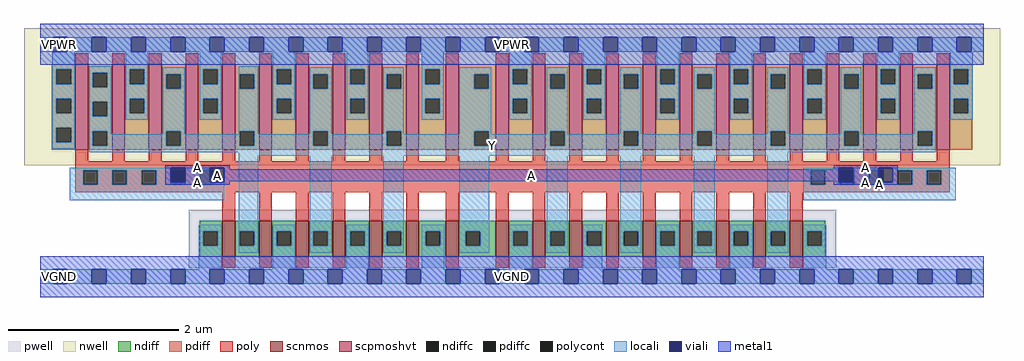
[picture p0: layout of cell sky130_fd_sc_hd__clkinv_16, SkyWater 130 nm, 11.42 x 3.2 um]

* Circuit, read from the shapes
.subckt sky130_fd_sc_hd__clkinv_16 A VGND VNB VPB VPWR Y
XM1 Y A VGND VNB sky130_fd_pr__nfet_01v8 w=0.42 l=0.15 m=16
XM2 Y A VPWR VPB sky130_fd_pr__pfet_01v8_hvt w=1 l=0.15 m=24
.ends

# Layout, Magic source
magic
tech sky130B
magscale 1 2
<< nwell >>
rect -38 261 2246 582
<< pwell >>
rect 347 21 1863 157
rect 29 -17 63 17
<< scnmos >>
rect 426 47 456 131
rect 512 47 542 131
rect 598 47 628 131
rect 684 47 714 131
rect 770 47 800 131
rect 856 47 886 131
rect 949 47 979 131
rect 1066 47 1096 131
rect 1152 47 1182 131
rect 1238 47 1268 131
rect 1324 47 1354 131
rect 1410 47 1440 131
rect 1496 47 1526 131
rect 1582 47 1612 131
rect 1668 47 1698 131
rect 1754 47 1784 131
<< scpmoshvt >>
rect 82 297 112 497
rect 168 297 198 497
rect 254 297 284 497
rect 340 297 370 497
rect 426 297 456 497
rect 512 297 542 497
rect 598 297 628 497
rect 684 297 714 497
rect 770 297 800 497
rect 856 297 886 497
rect 949 297 979 497
rect 1066 297 1096 497
rect 1152 297 1182 497
rect 1238 297 1268 497
rect 1324 297 1354 497
rect 1410 297 1440 497
rect 1496 297 1526 497
rect 1582 297 1612 497
rect 1668 297 1698 497
rect 1754 297 1784 497
rect 1840 297 1870 497
rect 1926 297 1956 497
rect 2012 297 2042 497
rect 2098 297 2128 497
<< ndiff >>
rect 373 106 426 131
rect 373 72 381 106
rect 415 72 426 106
rect 373 47 426 72
rect 456 106 512 131
rect 456 72 467 106
rect 501 72 512 106
rect 456 47 512 72
rect 542 106 598 131
rect 542 72 553 106
rect 587 72 598 106
rect 542 47 598 72
rect 628 106 684 131
rect 628 72 639 106
rect 673 72 684 106
rect 628 47 684 72
rect 714 106 770 131
rect 714 72 725 106
rect 759 72 770 106
rect 714 47 770 72
rect 800 106 856 131
rect 800 72 811 106
rect 845 72 856 106
rect 800 47 856 72
rect 886 106 949 131
rect 886 72 902 106
rect 936 72 949 106
rect 886 47 949 72
rect 979 106 1066 131
rect 979 72 996 106
rect 1030 72 1066 106
rect 979 47 1066 72
rect 1096 106 1152 131
rect 1096 72 1107 106
rect 1141 72 1152 106
rect 1096 47 1152 72
rect 1182 106 1238 131
rect 1182 72 1193 106
rect 1227 72 1238 106
rect 1182 47 1238 72
rect 1268 106 1324 131
rect 1268 72 1279 106
rect 1313 72 1324 106
rect 1268 47 1324 72
rect 1354 106 1410 131
rect 1354 72 1365 106
rect 1399 72 1410 106
rect 1354 47 1410 72
rect 1440 106 1496 131
rect 1440 72 1451 106
rect 1485 72 1496 106
rect 1440 47 1496 72
rect 1526 106 1582 131
rect 1526 72 1537 106
rect 1571 72 1582 106
rect 1526 47 1582 72
rect 1612 106 1668 131
rect 1612 72 1623 106
rect 1657 72 1668 106
rect 1612 47 1668 72
rect 1698 106 1754 131
rect 1698 72 1709 106
rect 1743 72 1754 106
rect 1698 47 1754 72
rect 1784 106 1837 131
rect 1784 72 1795 106
rect 1829 72 1837 106
rect 1784 47 1837 72
<< pdiff >>
rect 27 485 82 497
rect 27 451 38 485
rect 72 451 82 485
rect 27 417 82 451
rect 27 383 38 417
rect 72 383 82 417
rect 27 349 82 383
rect 27 315 38 349
rect 72 315 82 349
rect 27 297 82 315
rect 112 477 168 497
rect 112 443 123 477
rect 157 443 168 477
rect 112 409 168 443
rect 112 375 123 409
rect 157 375 168 409
rect 112 341 168 375
rect 112 307 123 341
rect 157 307 168 341
rect 112 297 168 307
rect 198 485 254 497
rect 198 451 209 485
rect 243 451 254 485
rect 198 417 254 451
rect 198 383 209 417
rect 243 383 254 417
rect 198 297 254 383
rect 284 474 340 497
rect 284 440 295 474
rect 329 440 340 474
rect 284 341 340 440
rect 284 307 295 341
rect 329 307 340 341
rect 284 297 340 307
rect 370 485 426 497
rect 370 451 381 485
rect 415 451 426 485
rect 370 417 426 451
rect 370 383 381 417
rect 415 383 426 417
rect 370 297 426 383
rect 456 474 512 497
rect 456 440 467 474
rect 501 440 512 474
rect 456 341 512 440
rect 456 307 467 341
rect 501 307 512 341
rect 456 297 512 307
rect 542 485 598 497
rect 542 451 553 485
rect 587 451 598 485
rect 542 417 598 451
rect 542 383 553 417
rect 587 383 598 417
rect 542 297 598 383
rect 628 474 684 497
rect 628 440 639 474
rect 673 440 684 474
rect 628 341 684 440
rect 628 307 639 341
rect 673 307 684 341
rect 628 297 684 307
rect 714 485 770 497
rect 714 451 725 485
rect 759 451 770 485
rect 714 417 770 451
rect 714 383 725 417
rect 759 383 770 417
rect 714 297 770 383
rect 800 474 856 497
rect 800 440 811 474
rect 845 440 856 474
rect 800 341 856 440
rect 800 307 811 341
rect 845 307 856 341
rect 800 297 856 307
rect 886 485 949 497
rect 886 451 901 485
rect 935 451 949 485
rect 886 417 949 451
rect 886 383 901 417
rect 935 383 949 417
rect 886 297 949 383
rect 979 474 1066 497
rect 979 440 1016 474
rect 1050 440 1066 474
rect 979 341 1066 440
rect 979 307 1016 341
rect 1050 307 1066 341
rect 979 297 1066 307
rect 1096 485 1152 497
rect 1096 451 1106 485
rect 1140 451 1152 485
rect 1096 417 1152 451
rect 1096 383 1106 417
rect 1140 383 1152 417
rect 1096 297 1152 383
rect 1182 474 1238 497
rect 1182 440 1193 474
rect 1227 440 1238 474
rect 1182 341 1238 440
rect 1182 307 1193 341
rect 1227 307 1238 341
rect 1182 297 1238 307
rect 1268 485 1324 497
rect 1268 451 1279 485
rect 1313 451 1324 485
rect 1268 417 1324 451
rect 1268 383 1279 417
rect 1313 383 1324 417
rect 1268 297 1324 383
rect 1354 474 1410 497
rect 1354 440 1365 474
rect 1399 440 1410 474
rect 1354 341 1410 440
rect 1354 307 1365 341
rect 1399 307 1410 341
rect 1354 297 1410 307
rect 1440 485 1496 497
rect 1440 451 1451 485
rect 1485 451 1496 485
rect 1440 417 1496 451
rect 1440 383 1451 417
rect 1485 383 1496 417
rect 1440 297 1496 383
rect 1526 474 1582 497
rect 1526 440 1537 474
rect 1571 440 1582 474
rect 1526 341 1582 440
rect 1526 307 1537 341
rect 1571 307 1582 341
rect 1526 297 1582 307
rect 1612 485 1668 497
rect 1612 451 1623 485
rect 1657 451 1668 485
rect 1612 417 1668 451
rect 1612 383 1623 417
rect 1657 383 1668 417
rect 1612 297 1668 383
rect 1698 474 1754 497
rect 1698 440 1709 474
rect 1743 440 1754 474
rect 1698 341 1754 440
rect 1698 307 1709 341
rect 1743 307 1754 341
rect 1698 297 1754 307
rect 1784 485 1840 497
rect 1784 451 1795 485
rect 1829 451 1840 485
rect 1784 417 1840 451
rect 1784 383 1795 417
rect 1829 383 1840 417
rect 1784 297 1840 383
rect 1870 474 1926 497
rect 1870 440 1881 474
rect 1915 440 1926 474
rect 1870 341 1926 440
rect 1870 307 1881 341
rect 1915 307 1926 341
rect 1870 297 1926 307
rect 1956 485 2012 497
rect 1956 451 1967 485
rect 2001 451 2012 485
rect 1956 417 2012 451
rect 1956 383 1967 417
rect 2001 383 2012 417
rect 1956 297 2012 383
rect 2042 474 2098 497
rect 2042 440 2053 474
rect 2087 440 2098 474
rect 2042 341 2098 440
rect 2042 307 2053 341
rect 2087 307 2098 341
rect 2042 297 2098 307
rect 2128 485 2181 497
rect 2128 451 2138 485
rect 2172 451 2181 485
rect 2128 417 2181 451
rect 2128 383 2138 417
rect 2172 383 2181 417
rect 2128 297 2181 383
<< ndiffc >>
rect 381 72 415 106
rect 467 72 501 106
rect 553 72 587 106
rect 639 72 673 106
rect 725 72 759 106
rect 811 72 845 106
rect 902 72 936 106
rect 996 72 1030 106
rect 1107 72 1141 106
rect 1193 72 1227 106
rect 1279 72 1313 106
rect 1365 72 1399 106
rect 1451 72 1485 106
rect 1537 72 1571 106
rect 1623 72 1657 106
rect 1709 72 1743 106
rect 1795 72 1829 106
<< pdiffc >>
rect 38 451 72 485
rect 38 383 72 417
rect 38 315 72 349
rect 123 443 157 477
rect 123 375 157 409
rect 123 307 157 341
rect 209 451 243 485
rect 209 383 243 417
rect 295 440 329 474
rect 295 307 329 341
rect 381 451 415 485
rect 381 383 415 417
rect 467 440 501 474
rect 467 307 501 341
rect 553 451 587 485
rect 553 383 587 417
rect 639 440 673 474
rect 639 307 673 341
rect 725 451 759 485
rect 725 383 759 417
rect 811 440 845 474
rect 811 307 845 341
rect 901 451 935 485
rect 901 383 935 417
rect 1016 440 1050 474
rect 1016 307 1050 341
rect 1106 451 1140 485
rect 1106 383 1140 417
rect 1193 440 1227 474
rect 1193 307 1227 341
rect 1279 451 1313 485
rect 1279 383 1313 417
rect 1365 440 1399 474
rect 1365 307 1399 341
rect 1451 451 1485 485
rect 1451 383 1485 417
rect 1537 440 1571 474
rect 1537 307 1571 341
rect 1623 451 1657 485
rect 1623 383 1657 417
rect 1709 440 1743 474
rect 1709 307 1743 341
rect 1795 451 1829 485
rect 1795 383 1829 417
rect 1881 440 1915 474
rect 1881 307 1915 341
rect 1967 451 2001 485
rect 1967 383 2001 417
rect 2053 440 2087 474
rect 2053 307 2087 341
rect 2138 451 2172 485
rect 2138 383 2172 417
<< poly >>
rect 82 497 112 523
rect 168 497 198 523
rect 254 497 284 523
rect 340 497 370 523
rect 426 497 456 523
rect 512 497 542 523
rect 598 497 628 523
rect 684 497 714 523
rect 770 497 800 523
rect 856 497 886 523
rect 949 497 979 523
rect 1066 497 1096 523
rect 1152 497 1182 523
rect 1238 497 1268 523
rect 1324 497 1354 523
rect 1410 497 1440 523
rect 1496 497 1526 523
rect 1582 497 1612 523
rect 1668 497 1698 523
rect 1754 497 1784 523
rect 1840 497 1870 523
rect 1926 497 1956 523
rect 2012 497 2042 523
rect 2098 497 2128 523
rect 82 270 112 297
rect 168 270 198 297
rect 254 270 284 297
rect 340 270 370 297
rect 426 270 456 297
rect 512 270 542 297
rect 598 270 628 297
rect 684 270 714 297
rect 770 270 800 297
rect 856 270 886 297
rect 949 270 979 297
rect 1066 270 1096 297
rect 1152 270 1182 297
rect 1238 270 1268 297
rect 1324 270 1354 297
rect 1410 270 1440 297
rect 1496 270 1526 297
rect 1582 270 1612 297
rect 1668 270 1698 297
rect 1754 270 1784 297
rect 1840 270 1870 297
rect 1926 270 1956 297
rect 2012 270 2042 297
rect 2098 270 2128 297
rect 82 249 2128 270
rect 82 215 101 249
rect 135 215 169 249
rect 203 215 237 249
rect 271 215 305 249
rect 339 215 373 249
rect 407 215 1803 249
rect 1837 215 1871 249
rect 1905 215 1939 249
rect 1973 215 2007 249
rect 2041 215 2075 249
rect 2109 215 2128 249
rect 82 198 2128 215
rect 426 131 456 198
rect 512 131 542 198
rect 598 131 628 198
rect 684 131 714 198
rect 770 131 800 198
rect 856 131 886 198
rect 949 131 979 198
rect 1066 131 1096 198
rect 1152 131 1182 198
rect 1238 131 1268 198
rect 1324 131 1354 198
rect 1410 131 1440 198
rect 1496 131 1526 198
rect 1582 131 1612 198
rect 1668 131 1698 198
rect 1754 131 1784 198
rect 426 21 456 47
rect 512 21 542 47
rect 598 21 628 47
rect 684 21 714 47
rect 770 21 800 47
rect 856 21 886 47
rect 949 21 979 47
rect 1066 21 1096 47
rect 1152 21 1182 47
rect 1238 21 1268 47
rect 1324 21 1354 47
rect 1410 21 1440 47
rect 1496 21 1526 47
rect 1582 21 1612 47
rect 1668 21 1698 47
rect 1754 21 1784 47
<< polycont >>
rect 101 215 135 249
rect 169 215 203 249
rect 237 215 271 249
rect 305 215 339 249
rect 373 215 407 249
rect 1803 215 1837 249
rect 1871 215 1905 249
rect 1939 215 1973 249
rect 2007 215 2041 249
rect 2075 215 2109 249
<< locali >>
rect 0 527 29 561
rect 63 527 121 561
rect 155 527 213 561
rect 247 527 305 561
rect 339 527 397 561
rect 431 527 489 561
rect 523 527 581 561
rect 615 527 673 561
rect 707 527 765 561
rect 799 527 857 561
rect 891 527 949 561
rect 983 527 1041 561
rect 1075 527 1133 561
rect 1167 527 1225 561
rect 1259 527 1317 561
rect 1351 527 1409 561
rect 1443 527 1501 561
rect 1535 527 1593 561
rect 1627 527 1685 561
rect 1719 527 1777 561
rect 1811 527 1869 561
rect 1903 527 1961 561
rect 1995 527 2053 561
rect 2087 527 2145 561
rect 2179 527 2208 561
rect 28 485 81 527
rect 28 451 38 485
rect 72 451 81 485
rect 28 417 81 451
rect 28 383 38 417
rect 72 383 81 417
rect 28 349 81 383
rect 28 315 38 349
rect 72 315 81 349
rect 28 299 81 315
rect 115 477 166 493
rect 115 443 123 477
rect 157 443 166 477
rect 115 409 166 443
rect 115 375 123 409
rect 157 375 166 409
rect 115 341 166 375
rect 200 485 252 527
rect 200 451 209 485
rect 243 451 252 485
rect 200 417 252 451
rect 200 383 209 417
rect 243 383 252 417
rect 200 367 252 383
rect 287 474 338 490
rect 287 440 295 474
rect 329 440 338 474
rect 115 307 123 341
rect 157 333 166 341
rect 287 341 338 440
rect 373 485 424 527
rect 373 451 381 485
rect 415 451 424 485
rect 373 417 424 451
rect 373 383 381 417
rect 415 383 424 417
rect 373 367 424 383
rect 465 474 510 493
rect 465 440 467 474
rect 501 440 510 474
rect 287 333 295 341
rect 157 307 295 333
rect 329 333 338 341
rect 465 341 510 440
rect 544 485 596 527
rect 544 451 553 485
rect 587 451 596 485
rect 544 417 596 451
rect 544 383 553 417
rect 587 383 596 417
rect 544 367 596 383
rect 631 474 682 490
rect 631 440 639 474
rect 673 440 682 474
rect 465 333 467 341
rect 329 307 467 333
rect 501 333 510 341
rect 631 341 682 440
rect 717 485 768 527
rect 717 451 725 485
rect 759 451 768 485
rect 717 417 768 451
rect 717 383 725 417
rect 759 383 768 417
rect 717 367 768 383
rect 803 474 851 490
rect 803 440 811 474
rect 845 440 851 474
rect 631 333 639 341
rect 501 307 639 333
rect 673 333 682 341
rect 803 341 851 440
rect 893 485 944 527
rect 893 451 901 485
rect 935 451 944 485
rect 893 417 944 451
rect 893 383 901 417
rect 935 383 944 417
rect 893 367 944 383
rect 981 474 1056 490
rect 981 440 1016 474
rect 1050 440 1056 474
rect 803 333 811 341
rect 673 307 811 333
rect 845 333 851 341
rect 981 341 1056 440
rect 1098 485 1150 527
rect 1098 451 1106 485
rect 1140 451 1150 485
rect 1098 424 1150 451
rect 1185 474 1235 490
rect 1185 440 1193 474
rect 1227 440 1235 474
rect 1098 417 1149 424
rect 1098 383 1106 417
rect 1140 383 1149 417
rect 1098 367 1149 383
rect 981 333 1016 341
rect 845 307 1016 333
rect 1050 333 1056 341
rect 1185 341 1235 440
rect 1271 485 1322 527
rect 1271 451 1279 485
rect 1313 451 1322 485
rect 1271 417 1322 451
rect 1271 383 1279 417
rect 1313 383 1322 417
rect 1271 367 1322 383
rect 1357 474 1407 490
rect 1357 440 1365 474
rect 1399 440 1407 474
rect 1185 333 1193 341
rect 1050 307 1193 333
rect 1227 333 1235 341
rect 1357 341 1407 440
rect 1443 485 1494 527
rect 1443 451 1451 485
rect 1485 451 1494 485
rect 1443 417 1494 451
rect 1443 383 1451 417
rect 1485 383 1494 417
rect 1443 367 1494 383
rect 1529 474 1579 490
rect 1529 440 1537 474
rect 1571 440 1579 474
rect 1357 333 1365 341
rect 1227 307 1365 333
rect 1399 333 1407 341
rect 1529 341 1579 440
rect 1615 485 1666 527
rect 1615 451 1623 485
rect 1657 451 1666 485
rect 1615 417 1666 451
rect 1615 383 1623 417
rect 1657 383 1666 417
rect 1615 367 1666 383
rect 1701 474 1751 490
rect 1701 440 1709 474
rect 1743 440 1751 474
rect 1529 333 1537 341
rect 1399 307 1537 333
rect 1571 333 1579 341
rect 1701 341 1751 440
rect 1787 485 1838 527
rect 1787 451 1795 485
rect 1829 451 1838 485
rect 1787 417 1838 451
rect 1787 383 1795 417
rect 1829 383 1838 417
rect 1787 367 1838 383
rect 1873 474 1921 490
rect 1873 440 1881 474
rect 1915 440 1921 474
rect 1701 333 1709 341
rect 1571 307 1709 333
rect 1743 333 1751 341
rect 1873 341 1921 440
rect 1959 485 2010 527
rect 1959 451 1967 485
rect 2001 451 2010 485
rect 1959 417 2010 451
rect 1959 383 1967 417
rect 2001 383 2010 417
rect 1959 367 2010 383
rect 2045 474 2096 490
rect 2045 440 2053 474
rect 2087 440 2096 474
rect 1873 333 1881 341
rect 1743 307 1881 333
rect 1915 333 1921 341
rect 2045 341 2096 440
rect 2130 485 2182 527
rect 2130 451 2138 485
rect 2172 451 2182 485
rect 2130 417 2182 451
rect 2130 383 2138 417
rect 2172 383 2182 417
rect 2130 367 2182 383
rect 2045 333 2053 341
rect 1915 307 2053 333
rect 2087 307 2096 341
rect 115 291 2096 307
rect 465 283 1751 291
rect 69 249 305 255
rect 339 249 397 255
rect 69 215 101 249
rect 135 215 169 249
rect 203 215 237 249
rect 271 215 305 249
rect 339 215 373 249
rect 407 215 431 221
rect 69 179 431 215
rect 371 106 425 122
rect 371 72 381 106
rect 415 72 425 106
rect 371 17 425 72
rect 465 106 510 283
rect 465 72 467 106
rect 501 72 510 106
rect 465 56 510 72
rect 544 106 597 122
rect 544 72 553 106
rect 587 72 597 106
rect 544 17 597 72
rect 631 106 682 283
rect 631 72 639 106
rect 673 72 682 106
rect 631 56 682 72
rect 716 106 769 122
rect 716 72 725 106
rect 759 72 769 106
rect 716 17 769 72
rect 803 106 851 283
rect 803 72 811 106
rect 845 72 851 106
rect 803 56 851 72
rect 893 106 946 122
rect 893 72 902 106
rect 936 72 946 106
rect 893 17 946 72
rect 981 106 1051 283
rect 981 72 996 106
rect 1030 72 1051 106
rect 981 56 1051 72
rect 1098 106 1151 122
rect 1098 72 1107 106
rect 1141 72 1151 106
rect 1098 17 1151 72
rect 1185 106 1235 283
rect 1185 72 1193 106
rect 1227 72 1235 106
rect 1185 56 1235 72
rect 1270 106 1315 122
rect 1270 72 1279 106
rect 1313 72 1315 106
rect 1270 17 1315 72
rect 1357 106 1407 283
rect 1357 72 1365 106
rect 1399 72 1407 106
rect 1357 56 1407 72
rect 1442 106 1495 122
rect 1442 72 1451 106
rect 1485 72 1495 106
rect 1442 17 1495 72
rect 1529 106 1579 283
rect 1529 72 1537 106
rect 1571 72 1579 106
rect 1529 56 1579 72
rect 1614 106 1667 122
rect 1614 72 1623 106
rect 1657 72 1667 106
rect 1614 17 1667 72
rect 1701 106 1751 283
rect 1786 249 1869 255
rect 1903 249 1961 255
rect 1995 249 2142 255
rect 1786 215 1803 249
rect 1837 221 1869 249
rect 1837 215 1871 221
rect 1905 215 1939 249
rect 1995 221 2007 249
rect 1973 215 2007 221
rect 2041 215 2075 249
rect 2109 215 2142 249
rect 1786 179 2142 215
rect 1701 72 1709 106
rect 1743 72 1751 106
rect 1701 56 1751 72
rect 1786 106 1839 122
rect 1786 72 1795 106
rect 1829 72 1839 106
rect 1786 17 1839 72
rect 0 -17 29 17
rect 63 -17 121 17
rect 155 -17 213 17
rect 247 -17 305 17
rect 339 -17 397 17
rect 431 -17 489 17
rect 523 -17 581 17
rect 615 -17 673 17
rect 707 -17 765 17
rect 799 -17 857 17
rect 891 -17 949 17
rect 983 -17 1041 17
rect 1075 -17 1133 17
rect 1167 -17 1225 17
rect 1259 -17 1317 17
rect 1351 -17 1409 17
rect 1443 -17 1501 17
rect 1535 -17 1593 17
rect 1627 -17 1685 17
rect 1719 -17 1777 17
rect 1811 -17 1869 17
rect 1903 -17 1961 17
rect 1995 -17 2053 17
rect 2087 -17 2145 17
rect 2179 -17 2208 17
<< viali >>
rect 29 527 63 561
rect 121 527 155 561
rect 213 527 247 561
rect 305 527 339 561
rect 397 527 431 561
rect 489 527 523 561
rect 581 527 615 561
rect 673 527 707 561
rect 765 527 799 561
rect 857 527 891 561
rect 949 527 983 561
rect 1041 527 1075 561
rect 1133 527 1167 561
rect 1225 527 1259 561
rect 1317 527 1351 561
rect 1409 527 1443 561
rect 1501 527 1535 561
rect 1593 527 1627 561
rect 1685 527 1719 561
rect 1777 527 1811 561
rect 1869 527 1903 561
rect 1961 527 1995 561
rect 2053 527 2087 561
rect 2145 527 2179 561
rect 305 249 339 255
rect 397 249 431 255
rect 305 221 339 249
rect 397 221 407 249
rect 407 221 431 249
rect 1869 249 1903 255
rect 1961 249 1995 255
rect 1869 221 1871 249
rect 1871 221 1903 249
rect 1961 221 1973 249
rect 1973 221 1995 249
rect 29 -17 63 17
rect 121 -17 155 17
rect 213 -17 247 17
rect 305 -17 339 17
rect 397 -17 431 17
rect 489 -17 523 17
rect 581 -17 615 17
rect 673 -17 707 17
rect 765 -17 799 17
rect 857 -17 891 17
rect 949 -17 983 17
rect 1041 -17 1075 17
rect 1133 -17 1167 17
rect 1225 -17 1259 17
rect 1317 -17 1351 17
rect 1409 -17 1443 17
rect 1501 -17 1535 17
rect 1593 -17 1627 17
rect 1685 -17 1719 17
rect 1777 -17 1811 17
rect 1869 -17 1903 17
rect 1961 -17 1995 17
rect 2053 -17 2087 17
rect 2145 -17 2179 17
<< metal1 >>
rect 0 561 2208 592
rect 0 527 29 561
rect 63 527 121 561
rect 155 527 213 561
rect 247 527 305 561
rect 339 527 397 561
rect 431 527 489 561
rect 523 527 581 561
rect 615 527 673 561
rect 707 527 765 561
rect 799 527 857 561
rect 891 527 949 561
rect 983 527 1041 561
rect 1075 527 1133 561
rect 1167 527 1225 561
rect 1259 527 1317 561
rect 1351 527 1409 561
rect 1443 527 1501 561
rect 1535 527 1593 561
rect 1627 527 1685 561
rect 1719 527 1777 561
rect 1811 527 1869 561
rect 1903 527 1961 561
rect 1995 527 2053 561
rect 2087 527 2145 561
rect 2179 527 2208 561
rect 0 496 2208 527
rect 293 255 443 261
rect 293 221 305 255
rect 339 221 397 255
rect 431 252 443 255
rect 1857 255 2007 261
rect 1857 252 1869 255
rect 431 224 1869 252
rect 431 221 443 224
rect 293 215 443 221
rect 1857 221 1869 224
rect 1903 221 1961 255
rect 1995 221 2007 255
rect 1857 215 2007 221
rect 0 17 2208 48
rect 0 -17 29 17
rect 63 -17 121 17
rect 155 -17 213 17
rect 247 -17 305 17
rect 339 -17 397 17
rect 431 -17 489 17
rect 523 -17 581 17
rect 615 -17 673 17
rect 707 -17 765 17
rect 799 -17 857 17
rect 891 -17 949 17
rect 983 -17 1041 17
rect 1075 -17 1133 17
rect 1167 -17 1225 17
rect 1259 -17 1317 17
rect 1351 -17 1409 17
rect 1443 -17 1501 17
rect 1535 -17 1593 17
rect 1627 -17 1685 17
rect 1719 -17 1777 17
rect 1811 -17 1869 17
rect 1903 -17 1961 17
rect 1995 -17 2053 17
rect 2087 -17 2145 17
rect 2179 -17 2208 17
rect 0 -48 2208 -17
<< labels >>
flabel locali s 1041 289 1075 323 0 FreeSans 400 0 0 0 Y
port 6 nsew signal output
flabel locali s 397 221 431 255 0 FreeSans 400 0 0 0 A
port 1 nsew signal input
flabel metal1 s 29 -17 63 17 0 FreeSans 200 0 0 0 VGND
port 2 nsew ground bidirectional abutment
flabel metal1 s 29 527 63 561 0 FreeSans 200 0 0 0 VPWR
port 5 nsew power bidirectional abutment
flabel pwell s 29 -17 63 17 0 FreeSans 200 0 0 0 VNB
port 3 nsew ground bidirectional
flabel nwell s 29 527 63 561 0 FreeSans 200 0 0 0 VPB
port 4 nsew power bidirectional
rlabel comment s 0 0 0 0 4 clkinv_16
rlabel locali s 1786 179 2142 255 1 A
port 1 nsew signal input
rlabel metal1 s 1857 252 2007 261 1 A
port 1 nsew signal input
rlabel metal1 s 1857 215 2007 224 1 A
port 1 nsew signal input
rlabel metal1 s 293 252 443 261 1 A
port 1 nsew signal input
rlabel metal1 s 293 224 2007 252 1 A
port 1 nsew signal input
rlabel metal1 s 293 215 443 224 1 A
port 1 nsew signal input
rlabel metal1 s 0 -48 2208 48 1 VGND
port 2 nsew ground bidirectional abutment
rlabel metal1 s 0 496 2208 592 1 VPWR
port 5 nsew power bidirectional abutment
<< properties >>
string FIXED_BBOX 0 0 2208 544
string GDS_END 3352902
string GDS_FILE $PDKPATH/libs.ref/sky130_fd_sc_hd/gds/sky130_fd_sc_hd.gds
string GDS_START 3339914
string LEFclass CORE
string LEFsite unithd
string LEFsymmetry X Y R90
string path 0.000 0.000 55.200 0.000 
<< end >>
